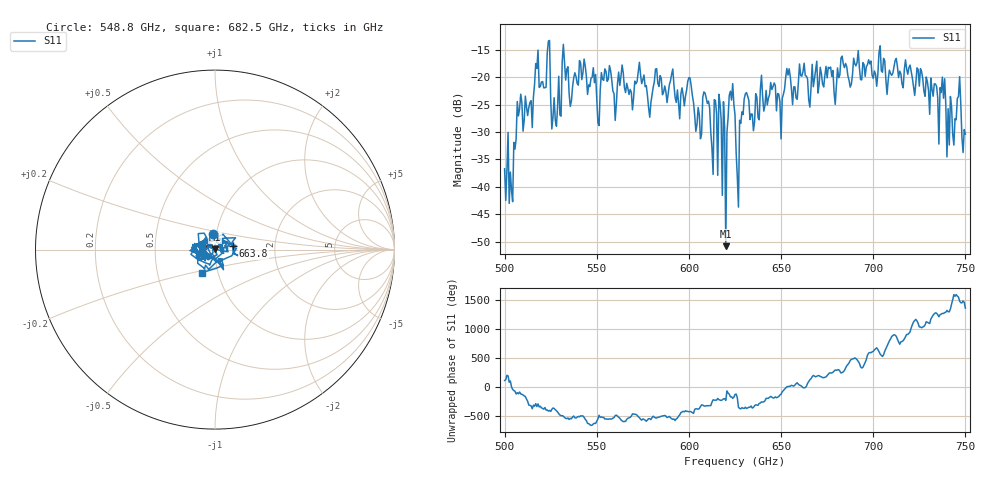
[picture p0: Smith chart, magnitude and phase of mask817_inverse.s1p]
!Created with skrf (http://scikit-rf.org).
# GHz S MA R 50.0
!freq magS11 angS11
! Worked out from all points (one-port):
!   401 points, 500 GHz to 750 GHz, reference 50 ohm
!   lowest |S11| = -50.8 dB at 620 GHz (marker M1), VSWR 1.01, Z = 49.8 + j0.224 ohm
!   |S11| at or under -10 dB: start of sweep to end of sweep
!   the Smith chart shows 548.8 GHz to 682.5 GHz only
!   S11 on the Smith chart (normalised r, x): 548.8 GHz: 0.97, +0.17; 663.8 GHz: 1.22, +0.05; 682.5 GHz: 0.83, -0.22
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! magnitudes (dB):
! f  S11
! 500 GHz  -36.7
! 503.8 GHz  -40.7
! 508.1 GHz  -25.8
! 513.8 GHz  -24.6
! 517.5 GHz  -18.4
! 523.8 GHz  -13.4
! 526.9 GHz  -23.7
! 531.2 GHz  -17.2
! 548.8 GHz  -21.0
! 562.5 GHz  -21.5
! 593.8 GHz  -22.3
! 600.6 GHz  -20.2
! 605.6 GHz  -26.8
! 609.4 GHz  -23.8
! 620 GHz  -50.8
! 623.1 GHz  -24.2
! 625 GHz  -26.9
! 626.9 GHz  -43.7
! 631.2 GHz  -22.8
! 656.2 GHz  -25.0
! 663.8 GHz  -19.8
! 682.5 GHz  -16.5
! 687.5 GHz  -21.8
! 718.8 GHz  -19.5
! 737.5 GHz  -20.0
! 742.5 GHz  -25.4
! 746.2 GHz  -23.5
! 750 GHz  -30.4
